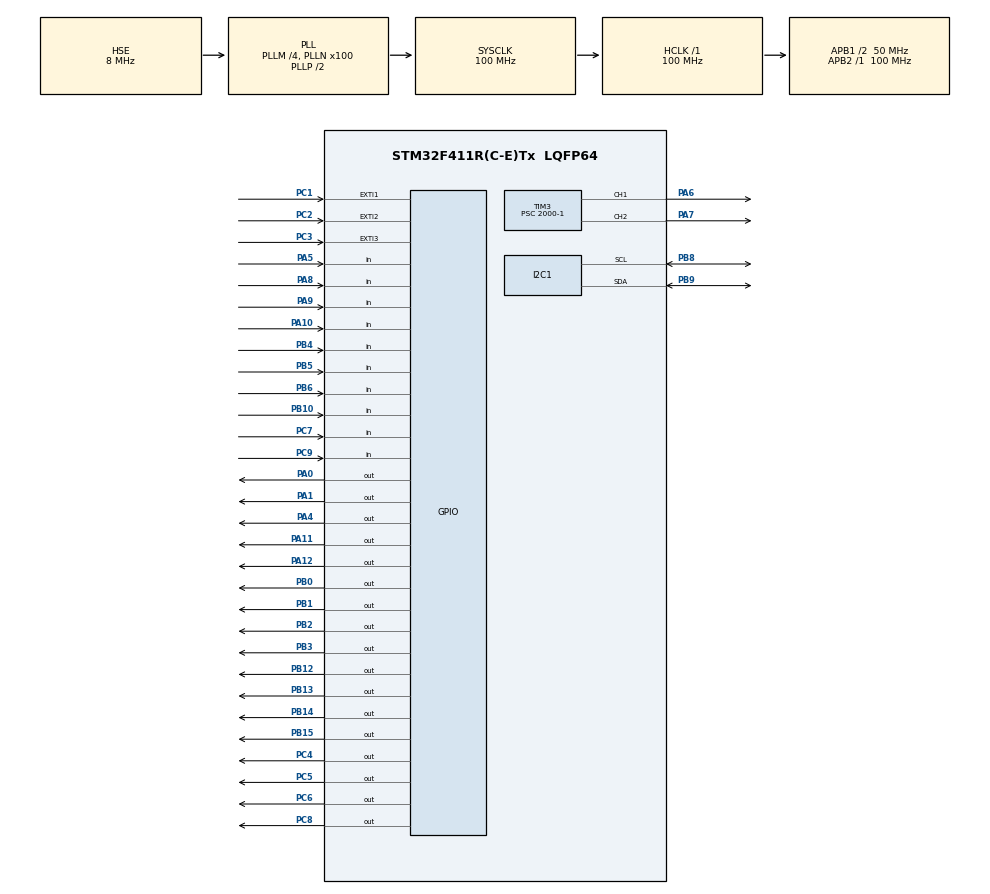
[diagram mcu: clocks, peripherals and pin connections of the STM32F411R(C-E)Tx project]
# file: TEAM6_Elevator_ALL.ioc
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Mcu.Family=STM32F4
Mcu.Name=STM32F411R(C-E)Tx
Mcu.Package=LQFP64
NVIC.EXTI1_IRQn=true\:0\:0\:false\:false\:true\:true\:true\:true
NVIC.EXTI2_IRQn=true\:0\:0\:false\:false\:true\:true\:true\:true
NVIC.EXTI3_IRQn=true\:0\:0\:false\:false\:true\:true\:true\:true
NVIC.PriorityGroup=NVIC_PRIORITYGROUP_4
PA0-WKUP.Signal=GPIO_Output
PA1.Signal=GPIO_Output
PA10.Signal=GPIO_Input
PA11.GPIO_Speed=GPIO_SPEED_FREQ_HIGH
PA11.PinState=GPIO_PIN_RESET
PA11.Signal=GPIO_Output
PA12.GPIO_Speed=GPIO_SPEED_FREQ_HIGH
PA12.Signal=GPIO_Output
PA13.Mode=Serial_Wire
PA13.Signal=SYS_JTMS-SWDIO
PA14.Mode=Serial_Wire
PA14.Signal=SYS_JTCK-SWCLK
PA4.Signal=GPIO_Output
PA5.Signal=GPIO_Input
PA6.Signal=S_TIM3_CH1
PA7.Signal=S_TIM3_CH2
PA8.Signal=GPIO_Input
PA9.Signal=GPIO_Input
PB0.Signal=GPIO_Output
PB1.Signal=GPIO_Output
PB10.Signal=GPIO_Input
PB12.GPIO_Speed=GPIO_SPEED_FREQ_HIGH
PB12.Signal=GPIO_Output
PB13.GPIO_Speed=GPIO_SPEED_FREQ_HIGH
PB13.Signal=GPIO_Output
PB14.Signal=GPIO_Output
PB15.Signal=GPIO_Output
PB2.Signal=GPIO_Output
PB3.GPIO_Speed=GPIO_SPEED_FREQ_HIGH
PB3.Signal=GPIO_Output
PB4.Signal=GPIO_Input
PB5.Signal=GPIO_Input
PB6.Signal=GPIO_Input
PB8.Mode=I2C
PB8.Signal=I2C1_SCL
PB9.Mode=I2C
PB9.Signal=I2C1_SDA
PC1.GPIO_ModeDefaultEXTI=GPIO_MODE_IT_FALLING
PC1.GPIO_PuPd=GPIO_PULLUP
PC1.Signal=GPXTI1
PC2.GPIO_ModeDefaultEXTI=GPIO_MODE_IT_FALLING
PC2.GPIO_PuPd=GPIO_PULLUP
PC2.Signal=GPXTI2
PC3.GPIO_ModeDefaultEXTI=GPIO_MODE_IT_FALLING
PC3.GPIO_PuPd=GPIO_PULLUP
PC3.Signal=GPXTI3
PC4.GPIO_Speed=GPIO_SPEED_FREQ_HIGH
PC4.Signal=GPIO_Output
PC5.GPIO_Speed=GPIO_SPEED_FREQ_HIGH
PC5.Signal=GPIO_Output
PC6.GPIO_Speed=GPIO_SPEED_FREQ_HIGH
PC6.Signal=GPIO_Output
PC7.Signal=GPIO_Input
PC8.GPIO_Speed=GPIO_SPEED_FREQ_HIGH
PC8.Signal=GPIO_Output
PC9.Signal=GPIO_Input
PH0\ -\ OSC_IN.Mode=HSE-External-Clock-Source
PH0\ -\ OSC_IN.Signal=RCC_OSC_IN
PH1\ -\ OSC_OUT.Mode=HSE-External-Clock-Source
PH1\ -\ OSC_OUT.Signal=RCC_OSC_OUT
ProjectManager.HeapSize=0x200
ProjectManager.StackSize=0x400
ProjectManager.TargetToolchain=STM32CubeIDE
RCC.48MHZClocksFreq_Value=50000000
RCC.AHBFreq_Value=100000000
RCC.APB1CLKDivider=RCC_HCLK_DIV2
RCC.APB1Freq_Value=50000000
RCC.APB1TimFreq_Value=100000000
RCC.APB2Freq_Value=100000000
RCC.APB2TimFreq_Value=100000000
RCC.CortexFreq_Value=100000000
RCC.HCLKFreq_Value=100000000
RCC.HSE_VALUE=8000000
RCC.HSI_VALUE=16000000
RCC.LSE_VALUE=32768
RCC.PLLM=4
RCC.PLLN=100
RCC.PLLSourceVirtual=RCC_PLLSOURCE_HSE
RCC.SYSCLKFreq_VALUE=100000000
RCC.SYSCLKSource=RCC_SYSCLKSOURCE_PLLCLK
RCC.VCOOutputFreq_Value=200000000
SH.S_TIM3_CH1.0=TIM3_CH1,PWM Generation1 CH1
SH.S_TIM3_CH2.0=TIM3_CH2,PWM Generation2 CH2
TIM11.Prescaler=100-1
TIM3.Channel-PWM\ Generation1\ CH1=TIM_CHANNEL_1
TIM3.Channel-PWM\ Generation2\ CH2=TIM_CHANNEL_2
TIM3.OCMode_PWM-PWM\ Generation2\ CH2=TIM_OCMODE_PWM1
TIM3.Period=1000-1
TIM3.Prescaler=2000-1
TIM3.Pulse-PWM\ Generation1\ CH1=0
TIM3.Pulse-PWM\ Generation2\ CH2=0
VP_TIM11_VS_ClockSourceINT.Mode=Enable_Timer
board=custom

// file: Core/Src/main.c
/* USER CODE BEGIN Header */
/**
  ******************************************************************************
  * @file           : main.c
  * @brief          : Main program body
  ******************************************************************************
  * @attention
  *
  * Copyright (c) 2026 STMicroelectronics.
  * All rights reserved.
  *
  * This software is licensed under terms that can be found in the LICENSE file
  * in the root directory of this software component.
  * If no LICENSE file comes with this software, it is provided AS-IS.
  *
  ******************************************************************************
  */
/* USER CODE END Header */
#include "main.h"
#include "i2c.h"
#include "tim.h"
#include "gpio.h"

/* USER CODE BEGIN Includes */

#include "button.h"
#include "elevator.h"
#include "motor.h"

/* USER CODE END Includes */

void SystemClock_Config(void);
/* USER CODE BEGIN PFP */

void HAL_GPIO_EXTI_Callback(uint16_t GPIO_Pin)
{
  if(GPIO_Pin == GPIO_PIN_1)
  {
    current_floor = 1;
  }
  else if(GPIO_Pin == GPIO_PIN_2)
    {
      current_floor = 2;
    }
  else if(GPIO_Pin == GPIO_PIN_3)
    {
      current_floor = 3;
    }
}

/* USER CODE END PFP */

int main(void)
{

  /* MCU Configuration--------------------------------------------------------*/

  /* Reset of all peripherals, Initializes the Flash interface and the Systick. */
  HAL_Init();

  /* Configure the system clock */
  SystemClock_Config();

  /* Initialize all configured peripherals */
  MX_GPIO_Init();
  MX_TIM11_Init();
  MX_I2C1_Init();
  MX_TIM3_Init();
  /* USER CODE BEGIN 2 */

  HAL_TIM_Base_Start(&htim11);
  HAL_TIM_PWM_Start(&htim3, TIM_CHANNEL_1);
  HAL_TIM_PWM_Start(&htim3, TIM_CHANNEL_2);

  // 초기화 할 때 문을 닫아야 하니, 여기서도 htim을 넘겨줘야 함!
  Elevator_Close();

  SEVEN_SEG_Init();
  FND_Init();
  dataOut_LED(0x00);

  	i2c_lcd_init();
    move_cursor(0, 0);
    lcd_string("WELCOME");
    move_cursor(1, 0);
    lcd_string("SMART ELEVATOR");

  /* USER CODE END 2 */

  /* Infinite loop */
  /* USER CODE BEGIN WHILE */
  while (1)
  {
	  ELEVATOR_MOVE();
	  FND_ScanOnce();

//	  if(buttonGetPressed(4))
//	  {
//		  TIM3->CCR1 = 20;
//		  TIM3->CCR2 = 20;
//		  HAL_Delay(500);
//	  }
//	  if(buttonGetPressed(5))
//	  {
//		  TIM3->CCR1 = 130;
//		  TIM3->CCR2 = 130;
//		  HAL_Delay(500);
//
//	  }

    /* USER CODE END WHILE */

  }
}

void SystemClock_Config(void)
{
  RCC_OscInitTypeDef RCC_OscInitStruct = {0};
  RCC_ClkInitTypeDef RCC_ClkInitStruct = {0};

  /** Configure the main internal regulator output voltage
  */
  __HAL_RCC_PWR_CLK_ENABLE();
  __HAL_PWR_VOLTAGESCALING_CONFIG(PWR_REGULATOR_VOLTAGE_SCALE1);

  /** Initializes the RCC Oscillators according to the specified parameters
  * in the RCC_OscInitTypeDef structure.
  */
  RCC_OscInitStruct.OscillatorType = RCC_OSCILLATORTYPE_HSE;
  RCC_OscInitStruct.HSEState = RCC_HSE_BYPASS;
  RCC_OscInitStruct.PLL.PLLState = RCC_PLL_ON;
  RCC_OscInitStruct.PLL.PLLSource = RCC_PLLSOURCE_HSE;
  RCC_OscInitStruct.PLL.PLLM = 4;
  RCC_OscInitStruct.PLL.PLLN = 100;
  RCC_OscInitStruct.PLL.PLLP = RCC_PLLP_DIV2;
  RCC_OscInitStruct.PLL.PLLQ = 4;
  if (HAL_RCC_OscConfig(&RCC_OscInitStruct) != HAL_OK)
  {
    Error_Handler();
  }

  /** Initializes the CPU, AHB and APB buses clocks
  */
  RCC_ClkInitStruct.ClockType = RCC_CLOCKTYPE_HCLK|RCC_CLOCKTYPE_SYSCLK
                              |RCC_CLOCKTYPE_PCLK1|RCC_CLOCKTYPE_PCLK2;
  RCC_ClkInitStruct.SYSCLKSource = RCC_SYSCLKSOURCE_PLLCLK;
  RCC_ClkInitStruct.AHBCLKDivider = RCC_SYSCLK_DIV1;
  RCC_ClkInitStruct.APB1CLKDivider = RCC_HCLK_DIV2;
  RCC_ClkInitStruct.APB2CLKDivider = RCC_HCLK_DIV1;

  if (HAL_RCC_ClockConfig(&RCC_ClkInitStruct, FLASH_LATENCY_3) != HAL_OK)
  {
    Error_Handler();
  }
}

void Error_Handler(void)
{
  __disable_irq();
  while (1)
  {
  }
}
